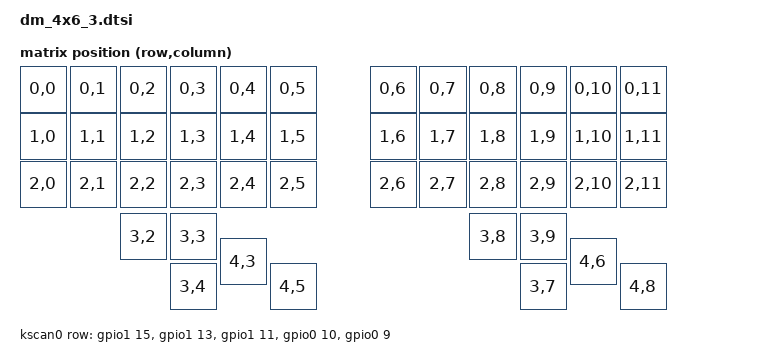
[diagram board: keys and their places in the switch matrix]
#include <dt-bindings/zmk/matrix_transform.h>
#include <physical_layouts.dtsi>

/ {
    chosen {
        zmk,physical-layout = &physical_layout0;
    };

    physical_layout0: physical_layout_0 {
        compatible = "zmk,physical-layout";
        display-name = "Default Layout";
        kscan = <&kscan0>;
        transform = <&default_transform>;
        keys =  <&key_physical_attrs 100 100    0    0  0 0 0>,
                <&key_physical_attrs 100 100  100    0  0 0 0>,
                <&key_physical_attrs 100 100  200    0  0 0 0>,
                <&key_physical_attrs 100 100  300    0  0 0 0>,
                <&key_physical_attrs 100 100  400    0  0 0 0>,
                <&key_physical_attrs 100 100  500    0  0 0 0>,
                // right half
                <&key_physical_attrs 100 100  700    0  0 0 0>,
                <&key_physical_attrs 100 100  800    0  0 0 0>,
                <&key_physical_attrs 100 100  900    0  0 0 0>,
                <&key_physical_attrs 100 100 1000    0  0 0 0>,
                <&key_physical_attrs 100 100 1100    0  0 0 0>,
                <&key_physical_attrs 100 100 1200    0  0 0 0>,

                // Row 1
                <&key_physical_attrs 100 100    0   95  0 0 0>,
                <&key_physical_attrs 100 100  100   95  0 0 0>,
                <&key_physical_attrs 100 100  200   95  0 0 0>,
                <&key_physical_attrs 100 100  300   95  0 0 0>,
                <&key_physical_attrs 100 100  400   95  0 0 0>,
                <&key_physical_attrs 100 100  500   95  0 0 0>,
                // right half
                <&key_physical_attrs 100 100  700   95  0 0 0>,
                <&key_physical_attrs 100 100  800   95  0 0 0>,
                <&key_physical_attrs 100 100  900   95  0 0 0>,
                <&key_physical_attrs 100 100 1000   95  0 0 0>,
                <&key_physical_attrs 100 100 1100   95  0 0 0>,
                <&key_physical_attrs 100 100 1200   95  0 0 0>,

                // Row 2
                <&key_physical_attrs 100 100    0  190  0 0 0>,
                <&key_physical_attrs 100 100  100  190  0 0 0>,
                <&key_physical_attrs 100 100  200  190  0 0 0>,
                <&key_physical_attrs 100 100  300  190  0 0 0>,
                <&key_physical_attrs 100 100  400  190  0 0 0>,
                <&key_physical_attrs 100 100  500  190  0 0 0>,
                // right half
                <&key_physical_attrs 100 100  700  190  0 0 0>,
                <&key_physical_attrs 100 100  800  190  0 0 0>,
                <&key_physical_attrs 100 100  900  190  0 0 0>,
                <&key_physical_attrs 100 100 1000  190  0 0 0>,
                <&key_physical_attrs 100 100 1100  190  0 0 0>,
                <&key_physical_attrs 100 100 1200  190  0 0 0>,

                // 4th row left
                <&key_physical_attrs 100 100  200  295  0 0 0>,
                <&key_physical_attrs 100 100  300  295  0 0 0>,
                // 4th row right
                <&key_physical_attrs 100 100  900  295  0 0 0>, 
                <&key_physical_attrs 100 100 1000  295  0 0 0>,

                // Thumb cluster left
                <&key_physical_attrs 100 100  300  395  0 0 0>,
                <&key_physical_attrs 100 100  400  345  0 0 0>,
                <&key_physical_attrs 100 100  500  395  0 0 0>,

                // Thumb cluster right
                <&key_physical_attrs 100 100 1000  395  0 0 0>,
                <&key_physical_attrs 100 100 1100  345  0 0 0>,
                <&key_physical_attrs 100 100 1200  395  0 0 0>
                ;
    };

    default_transform: matrix_transform {
        compatible = "zmk,matrix-transform";
        columns = <12>;
        rows = <5>;                                      
        map = <
RC(0,0) RC(0,1) RC(0,2) RC(0,3) RC(0,4) RC(0,5)               RC(0,6) RC(0,7) RC(0,8) RC(0,9) RC(0,10) RC(0,11) 
RC(1,0) RC(1,1) RC(1,2) RC(1,3) RC(1,4) RC(1,5)               RC(1,6) RC(1,7) RC(1,8) RC(1,9) RC(1,10) RC(1,11) 
RC(2,0) RC(2,1) RC(2,2) RC(2,3) RC(2,4) RC(2,5)               RC(2,6) RC(2,7) RC(2,8) RC(2,9) RC(2,10) RC(2,11) 
                RC(3,2) RC(3,3)                                               RC(3,8) RC(3,9)
                RC(3,4) RC(4,3) RC(4,5)                                       RC(3,7) RC(4,6) RC(4,8) 
        >;
    };

    kscan0: kscan {
        compatible = "zmk,kscan-gpio-matrix";
        diode-direction = "col2row";
        wakeup-source;
        
        row-gpios =
            <&gpio1 15 (GPIO_ACTIVE_HIGH | GPIO_PULL_DOWN)>,
            <&gpio1 13 (GPIO_ACTIVE_HIGH | GPIO_PULL_DOWN)>,
            <&gpio1 11 (GPIO_ACTIVE_HIGH | GPIO_PULL_DOWN)>,
            <&gpio0 10 (GPIO_ACTIVE_HIGH | GPIO_PULL_DOWN)>,
            <&gpio0 9 (GPIO_ACTIVE_HIGH | GPIO_PULL_DOWN)>;
    };
};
